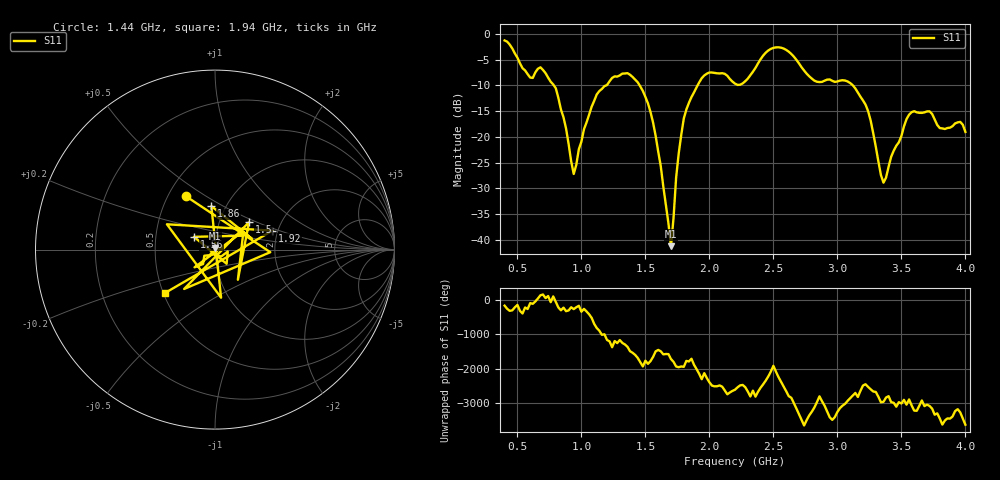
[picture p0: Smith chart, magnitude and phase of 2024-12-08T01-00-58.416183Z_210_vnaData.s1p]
!Created with skrf (http://scikit-rf.org).
# Hz S RI R 50.0
!freq ReS11 ImS11
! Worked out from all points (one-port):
!   181 points, 400 MHz to 4 GHz, reference 50 ohm
!   lowest |S11| = -41.2 dB at 1.7 GHz (marker M1), VSWR 1.02, Z = 50.1 + j0.867 ohm
!   |S11| at or under -10 dB: 784.3 MHz to 1.196 GHz (411.4 MHz wide, 41.6 % of centre); 1.455 GHz to 1.908 GHz (453.6 MHz wide, 27 % of centre); 3.12 GHz to end of sweep
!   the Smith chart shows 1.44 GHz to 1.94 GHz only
!   S11 on the Smith chart (normalised r, x): 1.44 GHz: 0.62, +0.41; 1.5 GHz: 1.38, +0.45; 1.56 GHz: 0.78, +0.11; 1.86 GHz: 0.86, +0.44; 1.92 GHz: 1.87, +0.45; 1.94 GHz: 0.51, -0.29
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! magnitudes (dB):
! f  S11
! 400 MHz  -1.3
! 600 MHz  -8.5
! 720 MHz  -7.7
! 800 MHz  -10.6
! 860 MHz  -16.2
! 940 MHz  -27.2
! 1.12 GHz  -11.8
! 1.3 GHz  -8.1
! 1.44 GHz  -9.4
! 1.5 GHz  -12.3
! 1.56 GHz  -17.2
! 1.7 GHz  -41.2
! 1.76 GHz  -23.3
! 1.8 GHz  -16.4
! 1.86 GHz  -12.3
! 1.92 GHz  -9.5
! 1.94 GHz  -8.6
! 2.2 GHz  -9.7
! 2.48 GHz  -2.9
! 2.66 GHz  -4.4
! 2.82 GHz  -9.1
! 3.1 GHz  -9.6
! 3.24 GHz  -15.0
! 3.36 GHz  -28.9
! 3.56 GHz  -15.7
! 3.72 GHz  -15.1
! 3.8 GHz  -18.3
! 4 GHz  -19.0
